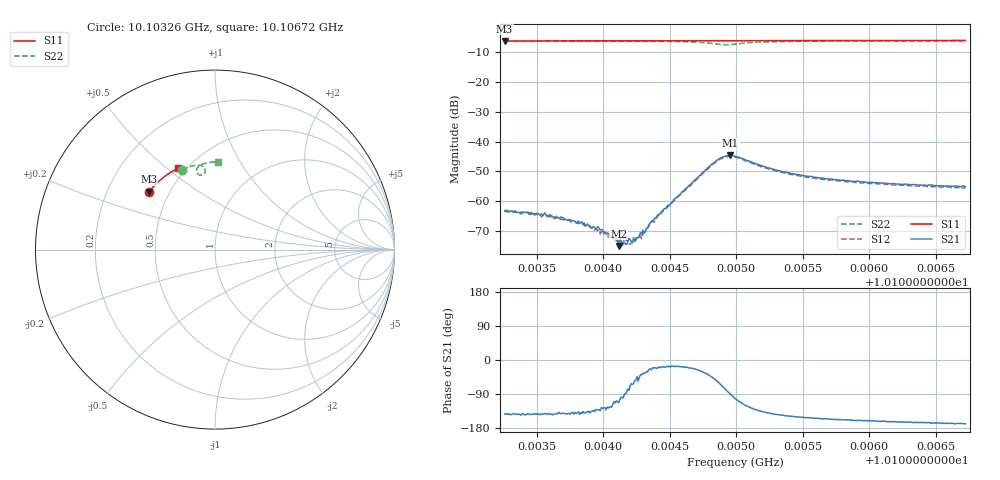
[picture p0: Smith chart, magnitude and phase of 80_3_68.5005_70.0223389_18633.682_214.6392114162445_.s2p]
#  HZ  S  RI  R  50.00
! Rohde & Schwarz Vector Network Analyzer
! Rohde-Schwarz,ZNB20-2Port,1311601062101988,3.16
! Created: UTC 3/20/2024, 4:52:07 PM
! freq[Hz]  re:S11  im:S11  re:S21  im:S21  re:S12  im:S12  re:S22  im:S22
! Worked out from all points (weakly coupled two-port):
!   401 points, 10.10326 GHz to 10.10672 GHz, reference 50 ohm
!   highest |S21| = -44.66 dB at 10.10496 GHz (marker M1); lowest = -75.0 dB at 10.10412 GHz (marker M2)
!   lowest |S11| = -6.2 dB at 10.10326 GHz (marker M3), VSWR 2.91, Z = 19.3 + j16.3 ohm
!   |S11| at or under -10 dB: nowhere
!   |S22| runs from -7.5 to -6.2 dB; largest |S21 - S12| = 0.00059
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1.0103258e10  -0.3681 0.3221  -0.000556 -0.000418  -0.000476 -0.000453  -0.1824 0.4457
1.0103414e10  -0.3622 0.3294  -0.000536 -0.000377  -0.000457 -0.000462  -0.1727 0.4499
1.0103579e10  -0.3555 0.3373  -0.000468 -0.000344  -0.000406 -0.000368  -0.1624 0.4541
1.0103838e10  -0.3451 0.349  -0.000351 -0.000283  -0.000284 -0.000302  -0.145 0.4605
1.0103977e10  -0.3394 0.355  -0.000228 -0.000238  -0.000157 -0.000233  -0.1355 0.4634
1.0104012e10  -0.3379 0.3566  -0.000175 -0.000246  -0.000157 -0.000257  -0.133 0.4641
1.0104116e10  -0.3335 0.3611  -6.88e-05 -0.000164  -5.6e-05 -0.000167  -0.1252 0.4663
1.0104133e10  -0.3326 0.3619  -3.09e-05 -0.000217  -9.61e-06 -0.000204  -0.124 0.4665
1.0104159e10  -0.3315 0.363  -1.55e-07 -0.000204  4.42e-05 -0.000219  -0.1219 0.467
1.0104211e10  -0.3294 0.3653  9.72e-05 -0.000187  7.92e-05 -0.000183  -0.1179 0.4679
1.0104254e10  -0.3276 0.3671  0.000177 -0.00017  0.000167 -0.000188  -0.1142 0.4685
1.0104289e10  -0.326 0.3686  0.000215 -0.000176  0.000192 -0.000136  -0.1115 0.4692
1.0104349e10  -0.3232 0.3711  0.000388 -0.000169  0.000371 -0.000151  -0.1062 0.4698
1.0104419e10  -0.3202 0.3739  0.000575 -0.000186  0.000563 -0.000125  -0.0996 0.4704
1.0104826e10  -0.3014 0.3902  0.00292 -0.00319  0.00309 -0.00279  -0.0541 0.4377
1.0104895e10  -0.2982 0.3927  0.00198 -0.00511  0.00236 -0.00472  -0.0646 0.4188
1.0104956e10  -0.2955 0.3949  -4.95e-06 -0.00585  0.00051 -0.0056  -0.0847 0.4157
1.010499e10  -0.2941 0.3962  -0.00112 -0.00559  -0.000586 -0.00546  -0.0943 0.421
1.0105276e10  -0.2807 0.4072  -0.00273 -0.00212  -0.00243 -0.00225  -0.0872 0.4669
1.0105571e10  -0.266 0.4177  -0.0023 -0.00115  -0.00208 -0.00129  -0.0617 0.4793
1.0106151e10  -0.2366 0.4367  -0.00187 -0.000576  -0.00177 -0.000734  -0.019 0.4871
1.0106722e10  -0.206 0.4534  -0.00171 -0.000359  -0.00162 -0.000499  0.0195 0.4891
